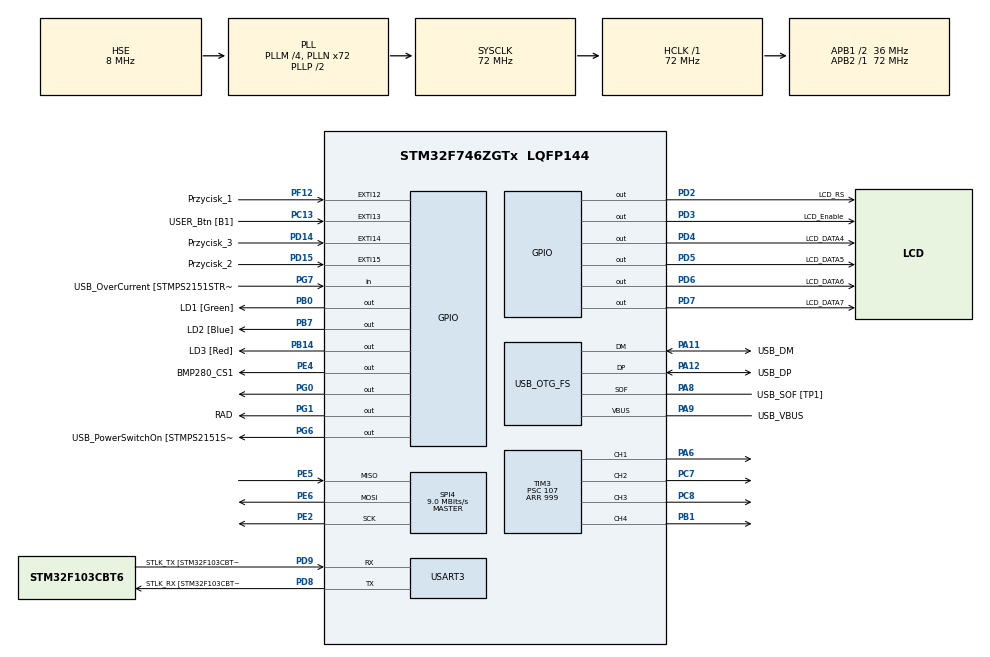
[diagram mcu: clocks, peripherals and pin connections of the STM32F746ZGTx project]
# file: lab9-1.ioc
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Mcu.Family=STM32F7
Mcu.Name=STM32F746ZGTx
Mcu.Package=LQFP144
NVIC.EXTI15_10_IRQn=true\:0\:0\:false\:false\:true\:true\:true\:true
NVIC.PriorityGroup=NVIC_PRIORITYGROUP_4
NVIC.SPI4_IRQn=true\:0\:0\:false\:false\:true\:true\:true\:true
NVIC.TIM2_IRQn=true\:0\:0\:false\:false\:true\:true\:true\:true
NVIC.TIM3_IRQn=true\:0\:0\:false\:false\:true\:true\:true\:true
NVIC.TIM4_IRQn=true\:0\:0\:false\:false\:true\:true\:true\:true
NVIC.TIM5_IRQn=true\:0\:0\:false\:false\:true\:true\:true\:true
NVIC.USART3_IRQn=true\:0\:0\:false\:false\:true\:true\:true\:true
PA1.GPIO_Label=RMII_REF_CLK [LAN8742A-CZ-TR_REFCLK0]
PA1.Signal=ETH_REF_CLK
PA10.GPIO_Label=USB_ID
PA10.Signal=USB_OTG_FS_ID
PA11.GPIO_Label=USB_DM
PA11.Mode=Device_Only
PA11.Signal=USB_OTG_FS_DM
PA12.GPIO_Label=USB_DP
PA12.Mode=Device_Only
PA12.Signal=USB_OTG_FS_DP
PA13.GPIO_Label=TMS
PA13.Mode=Serial_Wire
PA13.Signal=SYS_JTMS-SWDIO
PA14.GPIO_Label=TCK
PA14.Mode=Serial_Wire
PA14.Signal=SYS_JTCK-SWCLK
PA2.GPIO_Label=RMII_MDIO [LAN8742A-CZ-TR_MDIO]
PA2.Signal=ETH_MDIO
PA6.Signal=S_TIM3_CH1
PA7.GPIO_Label=RMII_CRS_DV [LAN8742A-CZ-TR_CRS_DV]
PA7.Signal=ETH_CRS_DV
PA8.GPIO_Label=USB_SOF [TP1]
PA8.Mode=Activate_SOF_FS
PA8.Signal=USB_OTG_FS_SOF
PA9.GPIO_Label=USB_VBUS
PA9.Mode=Activate_VBUS
PA9.Signal=USB_OTG_FS_VBUS
PB0.GPIO_Label=LD1 [Green]
PB0.Signal=GPIO_Output
PB1.Signal=S_TIM3_CH4
PB13.GPIO_Label=RMII_TXD1 [LAN8742A-CZ-TR_TXD1]
PB13.Signal=ETH_TXD1
PB14.GPIO_Label=LD3 [Red]
PB14.Signal=GPIO_Output
PB3.GPIO_Label=SW0
PB3.Signal=SYS_JTDO-SWO
PB7.GPIO_Label=LD2 [Blue]
PB7.Signal=GPIO_Output
PC1.GPIO_Label=RMII_MDC [LAN8742A-CZ-TR_MDC]
PC1.Signal=ETH_MDC
PC13.GPIO_Label=USER_Btn [B1]
PC13.Signal=GPXTI13
PC14/OSC32_IN.Mode=LSE-External-Oscillator
PC14/OSC32_IN.Signal=RCC_OSC32_IN
PC15/OSC32_OUT.Mode=LSE-External-Oscillator
PC15/OSC32_OUT.Signal=RCC_OSC32_OUT
PC4.GPIO_Label=RMII_RXD0 [LAN8742A-CZ-TR_RXD0]
PC4.Signal=ETH_RXD0
PC5.GPIO_Label=RMII_RXD1 [LAN8742A-CZ-TR_RXD1]
PC5.Signal=ETH_RXD1
PC7.Signal=S_TIM3_CH2
PC8.Signal=S_TIM3_CH3
PD14.GPIO_Label=Przycisk_3
PD14.Signal=GPXTI14
PD15.GPIO_Label=Przycisk_2
PD15.Signal=GPXTI15
PD2.GPIO_Label=LCD_RS
PD2.Signal=GPIO_Output
PD3.GPIO_Label=LCD_Enable
PD3.Signal=GPIO_Output
PD4.GPIO_Label=LCD_DATA4
PD4.Signal=GPIO_Output
PD5.GPIO_Label=LCD_DATA5
PD5.Signal=GPIO_Output
PD6.GPIO_Label=LCD_DATA6
PD6.Signal=GPIO_Output
PD7.GPIO_Label=LCD_DATA7
PD7.Signal=GPIO_Output
PD8.GPIO_Label=STLK_RX [STM32F103CBT6_PA3]
PD8.Mode=Asynchronous
PD8.Signal=USART3_TX
PD9.GPIO_Label=STLK_TX [STM32F103CBT6_PA2]
PD9.Mode=Asynchronous
PD9.Signal=USART3_RX
PE2.Mode=Full_Duplex_Master
PE2.Signal=SPI4_SCK
PE4.GPIO_Label=BMP280_CS1
PE4.GPIO_Speed=GPIO_SPEED_FREQ_VERY_HIGH
PE4.PinState=GPIO_PIN_SET
PE4.Signal=GPIO_Output
PE5.Mode=Full_Duplex_Master
PE5.Signal=SPI4_MISO
PE6.Mode=Full_Duplex_Master
PE6.Signal=SPI4_MOSI
PF12.GPIO_Label=Przycisk_1
PF12.Signal=GPXTI12
PG0.Signal=GPIO_Output
PG1.GPIO_Label=RAD
PG1.Signal=GPIO_Output
PG11.GPIO_Label=RMII_TX_EN [LAN8742A-CZ-TR_TXEN]
PG11.Signal=ETH_TX_EN
PG13.GPIO_Label=RMII_TXD0 [LAN8742A-CZ-TR_TXD0]
PG13.Signal=ETH_TXD0
PG6.GPIO_Label=USB_PowerSwitchOn [STMPS2151STR_EN]
PG6.Signal=GPIO_Output
PG7.GPIO_Label=USB_OverCurrent [STMPS2151STR_FAULT]
PG7.Signal=GPIO_Input
PH0/OSC_IN.GPIO_Label=MCO [STM32F103CBT6_PA8]
PH0/OSC_IN.Mode=HSE-External-Clock-Source
PH0/OSC_IN.Signal=RCC_OSC_IN
PH1/OSC_OUT.Mode=HSE-External-Clock-Source
PH1/OSC_OUT.Signal=RCC_OSC_OUT
ProjectManager.HeapSize=0x200
ProjectManager.StackSize=0x400
ProjectManager.TargetToolchain=STM32CubeIDE
RCC.48MHZClocksFreq_Value=24000000
RCC.AHBFreq_Value=72000000
RCC.APB1CLKDivider=RCC_HCLK_DIV2
RCC.APB1Freq_Value=36000000
RCC.APB1TimFreq_Value=72000000
RCC.APB2Freq_Value=72000000
RCC.APB2TimFreq_Value=72000000
RCC.CortexFreq_Value=72000000
RCC.HCLKFreq_Value=72000000
RCC.HSE_VALUE=8000000
RCC.HSI_VALUE=16000000
RCC.PLLM=4
RCC.PLLMUL=RCC_PLL_MUL9
RCC.PLLN=72
RCC.PLLQ=3
RCC.PRESCALERUSB=RCC_USBCLKSOURCE_PLL_DIV1_5
RCC.SYSCLKFreq_VALUE=72000000
RCC.SYSCLKSource=RCC_SYSCLKSOURCE_PLLCLK
RCC.SYSCLKSourceVirtual=RCC_SYSCLKSOURCE_PLLCLK
RCC.USBFreq_Value=48000000
RCC.VCOOutputFreq_Value=144000000
SH.S_TIM3_CH1.0=TIM3_CH1,PWM Generation1 CH1
SH.S_TIM3_CH2.0=TIM3_CH2,PWM Generation2 CH2
SH.S_TIM3_CH3.0=TIM3_CH3,PWM Generation3 CH3
SH.S_TIM3_CH4.0=TIM3_CH4,PWM Generation4 CH4
SPI4.BaudRatePrescaler=SPI_BAUDRATEPRESCALER_8
SPI4.CLKPhase=SPI_PHASE_2EDGE
SPI4.CLKPolarity=SPI_POLARITY_HIGH
SPI4.CalculateBaudRate=9.0 MBits/s
SPI4.DataSize=SPI_DATASIZE_8BIT
SPI4.Direction=SPI_DIRECTION_2LINES
SPI4.FirstBit=SPI_FIRSTBIT_MSB
SPI4.Mode=SPI_MODE_MASTER
SPI4.VirtualType=VM_MASTER
TIM2.Period=24999
TIM2.Prescaler=2159
TIM3.Channel-PWM\ Generation1\ CH1=TIM_CHANNEL_1
TIM3.Channel-PWM\ Generation2\ CH2=TIM_CHANNEL_2
TIM3.Channel-PWM\ Generation3\ CH3=TIM_CHANNEL_3
TIM3.Channel-PWM\ Generation4\ CH4=TIM_CHANNEL_4
TIM3.Period=999
TIM3.Prescaler=107
TIM3.Pulse-PWM\ Generation4\ CH4=500
TIM4.AutoReloadPreload=TIM_AUTORELOAD_PRELOAD_ENABLE
TIM4.Period=9999
TIM4.Prescaler=7199
TIM5.Prescaler=107
USART3.VirtualMode-Asynchronous=VM_ASYNC
USB_OTG_FS.VirtualMode=Device_Only
VP_TIM2_VS_ClockSourceINT.Mode=Internal
VP_TIM3_VS_ClockSourceINT.Mode=Internal
VP_TIM4_VS_ClockSourceINT.Mode=Internal
VP_TIM5_VS_ClockSourceINT.Mode=Internal
board=NUCLEO-F746ZG

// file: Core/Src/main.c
/* USER CODE BEGIN Header */
/**
 ******************************************************************************
 * @file           : main.c
 * @brief          : Main program body
 ******************************************************************************
 * @attention
 *
 * Copyright (c) 2023 STMicroelectronics.
 * All rights reserved.
 *
 * This software is licensed under terms that can be found in the LICENSE file
 * in the root directory of this software component.
 * If no LICENSE file comes with this software, it is provided AS-IS.
 *
 ******************************************************************************
 */
/* USER CODE END Header */
#include "main.h"
#include "spi.h"
#include "tim.h"
#include "usart.h"
#include "usb_otg.h"
#include "gpio.h"

/* USER CODE BEGIN Includes */
#include "bmp280_defs.h"
#include "bmp280.h"
#include "stdio.h"
#include "arm_math.h"
#include "stdio.h"
#include "math.h"
#include "stdlib.h"
#include "LCD.h"

/* USER CODE END Includes */

/* USER CODE BEGIN PTD */
#define BMP280_SPI (&hspi4)
#define BMP280_CS1 1
#define BMP280_CS2 2
/* USER CODE END PTD */

/* USER CODE BEGIN PD */
#define PID_PARAM_KP        20
#define PID_PARAM_KI        0.002
#define PID_PARAM_KD       	0
/* USER CODE END PD */

/* USER CODE BEGIN PM */
int8_t bmp280_spi_reg_write ( uint8_t cs , uint8_t reg_addr , uint8_t * reg_data , uint16_t
		length );
int8_t bmp280_spi_reg_read ( uint8_t cs , uint8_t reg_addr , uint8_t * reg_data , uint16_t
		length );
/* USER CODE END PM */

/* USER CODE BEGIN PV */
float zmiana = 0;
int przycisk_nacisniety = 0;

char Received[4];
int wypelnienie=0;
int temperatura_zadana=0;
float pid_error=0.0;
float pid_procent=8.0;
arm_pid_instance_f32 PID;
int SWV_pomiar;
int SWV_pid_error;
int SWV_wyp;
int radiator_state=0;
int size;
char buffer[50];
char flag;
GPIO_PinState LD1_state=GPIO_PIN_RESET;
GPIO_PinState LD3_state=GPIO_PIN_RESET;
GPIO_PinState RAD_State=GPIO_PIN_RESET;
int8_t BMP280_current;
int BMP280_expected = 2200;
struct bmp280_dev bmp280_1 ={
		.dev_id = BMP280_CS1,
		.intf = BMP280_SPI_INTF,
		.read = bmp280_spi_reg_read,
		.write = bmp280_spi_reg_write,
		.delay_ms = HAL_Delay
};
struct bmp280_uncomp_data bmp280_1_data;
int temp32;
uint8_t button_pressed = 0;
/* USER CODE END PV */

void SystemClock_Config(void);

/* USER CODE BEGIN 0 */
void HAL_GPIO_EXTI_Callback(uint16_t GPIO_Pin)
{
	HAL_GPIO_ReadPin(Przycisk_1_GPIO_Port, Przycisk_1_Pin);
	if(GPIO_Pin==Przycisk_1_Pin)
	{
		if(przycisk_nacisniety == 0)
		{
			przycisk_nacisniety = 1;
			zmiana = 1000;
		}
		else if(przycisk_nacisniety == 1)
		{
			przycisk_nacisniety = 2;
			zmiana = 100;
		}
		else if(przycisk_nacisniety == 2)
		{
			przycisk_nacisniety = 0;
			zmiana = 10;
		}

	}

	HAL_GPIO_ReadPin(Przycisk_2_GPIO_Port, Przycisk_2_Pin);
	if(GPIO_Pin==Przycisk_2_Pin)
	{
		BMP280_expected = BMP280_expected + zmiana;
	}

	HAL_GPIO_ReadPin(Przycisk_3_GPIO_Port, Przycisk_3_Pin);
	if(GPIO_Pin==Przycisk_3_Pin)
	{
		BMP280_expected = BMP280_expected - zmiana;
	}
	HAL_GPIO_ReadPin(USER_Btn_GPIO_Port, USER_Btn_Pin);
	if(GPIO_Pin == USER_Btn_Pin)
	{
		if(button_pressed == 0)
		{
			button_pressed = 1;
		}
		else if(button_pressed == 1)
		{
			button_pressed = 2;
		}
		else if(button_pressed == 2)
		{
			button_pressed = 0;
		}
	}
}

void HAL_UART_RxCpltCallback(UART_HandleTypeDef *huart){
	if(huart->Instance==USART3){
		//HAL_UART_Receive_IT(&huart3, (uint8_t*)Received, 5);
		//HAL_UART_Receive_IT(&huart3, (uint8_t*)kod, 5);
		sscanf(Received, "%d", &BMP280_expected);

	}

}

void HAL_TIM_PeriodElapsedCallback(TIM_HandleTypeDef *htim){
	if(htim->Instance == TIM2){

		//obliczenie uchybu
		pid_error =BMP280_expected-temp32;
		//regulacja pwm
		wypelnienie = arm_pid_f32(&PID, pid_error);

		SWV_wyp=wypelnienie;
		//sprawdzenie czy pwm nie wychodzi poza skale ustalona w konfiguracji
		if (wypelnienie > 999){
			wypelnienie = 999;
		} else if (wypelnienie < 0){
			wypelnienie = 0;
		}

		if(BMP280_expected<2200){
			BMP280_expected=2200;
		}
		if(BMP280_expected>3000){
			BMP280_expected=3000;
		}

		__HAL_TIM_SET_COMPARE(&htim3, TIM_CHANNEL_4, wypelnienie);
		//sprawdzanie czy uchyb jest wiekszy niz 1%
		if(pid_error>pid_procent/2){
			HAL_GPIO_WritePin(LD3_GPIO_Port, LD3_Pin, GPIO_PIN_SET);
			HAL_GPIO_WritePin(LD1_GPIO_Port, LD1_Pin, GPIO_PIN_RESET);
		}
		else {
			HAL_GPIO_WritePin(LD1_GPIO_Port, LD1_Pin, GPIO_PIN_SET);
			HAL_GPIO_WritePin(LD3_GPIO_Port, LD3_Pin, GPIO_PIN_RESET);
		}
		if(temp32>abs(BMP280_expected+pid_procent)){
			HAL_GPIO_WritePin(RAD_GPIO_Port, RAD_Pin, GPIO_PIN_SET);
		}
		else{
			HAL_GPIO_WritePin(RAD_GPIO_Port, RAD_Pin, GPIO_PIN_RESET);
		}

	}
	if(htim->Instance == TIM4){

		//size = sprintf(buffer, "{\"temperature\":%.2f}\r\n",(float)temp32/100);
		//HAL_UART_Transmit(&huart3, (uint8_t*)buffer, size, 100);

		size = sprintf(buffer, "Zadana temperatura [*C]: %.2f ; ",(float)BMP280_expected/100);
		HAL_UART_Transmit(&huart3, (uint8_t*)buffer, size, 100);
		size = sprintf(buffer, "aktualna temperatura [*C]: %.2f ;",(float)temp32/100);
		HAL_UART_Transmit(&huart3, (uint8_t*)buffer, size, 100);
		size = sprintf(buffer, "wypelnienie PWM: %d ; ", wypelnienie);
		HAL_UART_Transmit(&huart3, (uint8_t*)buffer, size, 100);
		size = sprintf(buffer, "error [*C]: %.2f ; \r\n", (float)pid_error/100);
		HAL_UART_Transmit(&huart3, (uint8_t*)buffer, size, 100);

	}

}

/* USER CODE END 0 */

int main(void)
{
  /* USER CODE BEGIN 1 */
	PID.Kp = PID_PARAM_KP;
	PID.Ki = PID_PARAM_KI;
	PID.Kd = PID_PARAM_KD;
  /* USER CODE END 1 */

  /* MCU Configuration--------------------------------------------------------*/

  /* Reset of all peripherals, Initializes the Flash interface and the Systick. */
  HAL_Init();

  /* Configure the system clock */
  SystemClock_Config();

  /* Initialize all configured peripherals */
  MX_GPIO_Init();
  MX_USART3_UART_Init();
  MX_USB_OTG_FS_PCD_Init();
  MX_TIM3_Init();
  MX_TIM2_Init();
  MX_TIM4_Init();
  MX_TIM5_Init();
  MX_SPI4_Init();
  /* USER CODE BEGIN 2 */

	struct bmp280_config conf;
	BMP280_current = bmp280_init(&bmp280_1);
	BMP280_current = bmp280_get_config(&conf, &bmp280_1);
	HAL_TIM_PWM_Start(&htim3, TIM_CHANNEL_4);

	arm_pid_init_f32(&PID, 1);
	HAL_TIM_Base_Start_IT(&htim2);
	HAL_TIM_Base_Start_IT(&htim4);
	HAL_TIM_Base_Start(&htim5);
	LCD_init();

	/* configuring the temperature over sampling, filter coefficient and output data rate */
	/* Overwrite the desired settings */
	conf.filter = BMP280_FILTER_OFF;

	/* Temperature over sampling set at 1x */
	conf.os_temp = BMP280_OS_1X;

	/* Setting the output data rate as 4HZ(250ms) */
	conf.odr = BMP280_ODR_1000_MS;
	BMP280_current = bmp280_set_config(&conf, &bmp280_1);
	BMP280_current = bmp280_set_power_mode(BMP280_NORMAL_MODE, &bmp280_1);

  /* USER CODE END 2 */

  /* Infinite loop */
  /* USER CODE BEGIN WHILE */
	while (1)
	{

		/*Reading the raw data from sensor*/
		BMP280_current = bmp280_get_uncomp_data(&bmp280_1_data, &bmp280_1);
		/*Getting  teh 32 bit compensated temperatue*/
		BMP280_current = bmp280_get_comp_temp_32bit(&temp32, bmp280_1_data.uncomp_temp, &bmp280_1);
		SWV_pid_error=(uint8_t) pid_error;
		SWV_pomiar=temp32;
		RAD_State=HAL_GPIO_ReadPin(RAD_GPIO_Port,RAD_Pin);
		//red diod
		LD3_state= HAL_GPIO_ReadPin(LD3_GPIO_Port, LD3_Pin);
		//green diod
		LD1_state= HAL_GPIO_ReadPin(LD1_GPIO_Port, LD1_Pin);
		HAL_UART_Receive_IT(&huart3, (uint8_t*)Received, 4);

		if(button_pressed == 0)
		{
			LCD_goto_line(0);
			LCD_printf("PROJEKT  ");
			LCD_goto_line(1);
			LCD_printf("PAWEL MIKOLAJ ");
		}
		else if(button_pressed == 1)
		{
				LCD_goto_line(0);
				LCD_printf( "Actual=%0.2f[*C]",(float)temp32/100);
				LCD_goto_line(1);
				LCD_printf( "Diff=%.3f[*C]",(float)pid_error/100);
		}
		else if(button_pressed == 2)
		{
			LCD_goto_line(0);
			LCD_printf("Wprowadz temp.  ");
			LCD_goto_line(1);
			LCD_printf( "%0.f Skok: %0.1f    ", (float)BMP280_expected/100, zmiana/100);

		}
		bmp280_1.delay_ms(1000);

    /* USER CODE END WHILE */

	}
}

void SystemClock_Config(void)
{
  RCC_OscInitTypeDef RCC_OscInitStruct = {0};
  RCC_ClkInitTypeDef RCC_ClkInitStruct = {0};

  /** Configure LSE Drive Capability
  */
  HAL_PWR_EnableBkUpAccess();
  /** Configure the main internal regulator output voltage
  */
  __HAL_RCC_PWR_CLK_ENABLE();
  __HAL_PWR_VOLTAGESCALING_CONFIG(PWR_REGULATOR_VOLTAGE_SCALE3);
  /** Initializes the RCC Oscillators according to the specified parameters
  * in the RCC_OscInitTypeDef structure.
  */
  RCC_OscInitStruct.OscillatorType = RCC_OSCILLATORTYPE_HSE;
  RCC_OscInitStruct.HSEState = RCC_HSE_BYPASS;
  RCC_OscInitStruct.PLL.PLLState = RCC_PLL_ON;
  RCC_OscInitStruct.PLL.PLLSource = RCC_PLLSOURCE_HSE;
  RCC_OscInitStruct.PLL.PLLM = 4;
  RCC_OscInitStruct.PLL.PLLN = 72;
  RCC_OscInitStruct.PLL.PLLP = RCC_PLLP_DIV2;
  RCC_OscInitStruct.PLL.PLLQ = 3;
  if (HAL_RCC_OscConfig(&RCC_OscInitStruct) != HAL_OK)
  {
    Error_Handler();
  }
  /** Initializes the CPU, AHB and APB buses clocks
  */
  RCC_ClkInitStruct.ClockType = RCC_CLOCKTYPE_HCLK|RCC_CLOCKTYPE_SYSCLK
                              |RCC_CLOCKTYPE_PCLK1|RCC_CLOCKTYPE_PCLK2;
  RCC_ClkInitStruct.SYSCLKSource = RCC_SYSCLKSOURCE_PLLCLK;
  RCC_ClkInitStruct.AHBCLKDivider = RCC_SYSCLK_DIV1;
  RCC_ClkInitStruct.APB1CLKDivider = RCC_HCLK_DIV2;
  RCC_ClkInitStruct.APB2CLKDivider = RCC_HCLK_DIV1;

  if (HAL_RCC_ClockConfig(&RCC_ClkInitStruct, FLASH_LATENCY_2) != HAL_OK)
  {
    Error_Handler();
  }
}

/* USER CODE BEGIN 4 */
#define BMP280_SPI_BUFFER_LEN  28
#define BMP280_DATA_INDEX 1
int8_t bmp280_spi_reg_write ( uint8_t cs , uint8_t reg_addr , uint8_t * reg_data , uint16_t
		length )
{
	/* Implement the SPI write routine according to the target machine . */
	HAL_StatusTypeDef status = HAL_OK ;
	int32_t iError = BMP280_OK ;
	uint8_t txarray [ BMP280_SPI_BUFFER_LEN ];
	uint8_t stringpos ;

	/* Copy register address and data to tx buffer */
	txarray [0] = reg_addr ;
	for ( stringpos = 0; stringpos < length ; stringpos ++)
	{
		txarray [ stringpos + BMP280_DATA_INDEX ] = reg_data [ stringpos ];
	}
	// memcpy ( txarray + BMP280_DATA_INDEX , reg_data , length );

	/* Software slave selection procedure */
	if( cs == BMP280_CS1 )
		HAL_GPIO_WritePin ( BMP280_CS1_GPIO_Port , BMP280_CS1_Pin , GPIO_PIN_RESET ) ;

	/* Data exchange */
	status = HAL_SPI_Transmit ( BMP280_SPI , ( uint8_t *) (& txarray ) , length +1 , 100) ;
	while ( BMP280_SPI -> State == HAL_SPI_STATE_BUSY ) {};

	/* Disable all slaves */
	HAL_GPIO_WritePin ( BMP280_CS1_GPIO_Port , BMP280_CS1_Pin , GPIO_PIN_SET ) ;

	if ( status != HAL_OK )
	{
		// The BMP280 API calls for 0 return value as a success , and -1 returned as
		//failure
		iError = ( -1) ;
	}

	return ( int8_t ) iError ;
}

int8_t bmp280_spi_reg_read ( uint8_t cs , uint8_t reg_addr , uint8_t * reg_data , uint16_t
		length )
{
	/* Implement the SPI read routine according to the target machine . */
	HAL_StatusTypeDef status = HAL_OK ;
	int32_t iError = BMP280_OK ;
	uint8_t txarray [ BMP280_SPI_BUFFER_LEN ] = {0 ,};
	uint8_t rxarray [ BMP280_SPI_BUFFER_LEN ] = {0 ,};
	uint8_t stringpos ;

	txarray [0] = reg_addr ;

	/* Software slave selection procedure */
	if( cs == BMP280_CS1 )
		HAL_GPIO_WritePin ( BMP280_CS1_GPIO_Port , BMP280_CS1_Pin , GPIO_PIN_RESET ) ;

	/* Data exchange */
	status = HAL_SPI_TransmitReceive ( BMP280_SPI , ( uint8_t *) (& txarray ) , ( uint8_t *) (&
			rxarray ) , length +1 , 5) ;
	while ( BMP280_SPI -> State == HAL_SPI_STATE_BUSY ) {};

	/* Disable all slaves */
	HAL_GPIO_WritePin ( BMP280_CS1_GPIO_Port , BMP280_CS1_Pin , GPIO_PIN_SET ) ;

	/* Copy data from rx buffer */
	for ( stringpos = 0; stringpos < length ; stringpos ++)
	{
		reg_data [ stringpos ] = rxarray [ stringpos + BMP280_DATA_INDEX ];
	}
	// memcpy ( reg_data , rxarray + BMP280_DATA_INDEX , length );

	if ( status != HAL_OK )
	{
		// The BME280 API calls for 0 return value as a success , and -1 returned as
		//failure
		iError = ( -1) ;
	}

	return ( int8_t ) iError ;
}
/* USER CODE END 4 */

void Error_Handler(void)
{
	__disable_irq();
	while (1)
	{
	}
}
